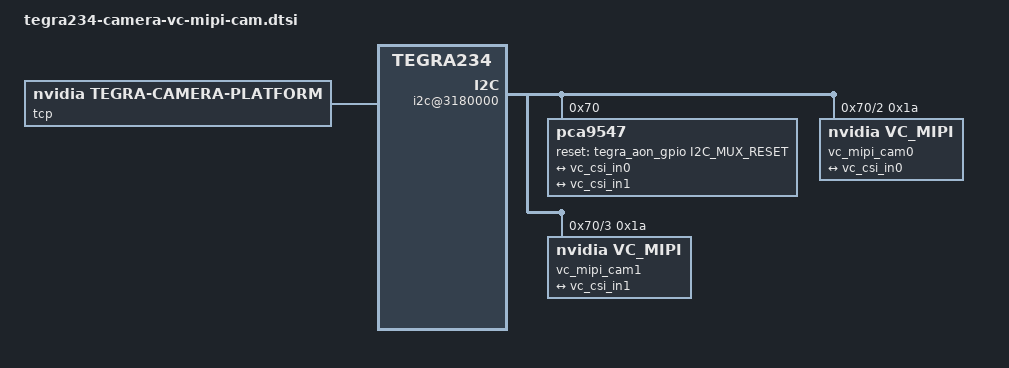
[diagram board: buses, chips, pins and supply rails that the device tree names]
/*
 * Copyright (c) 2024, Vision Components GmbH.  All rights reserved.
 *
 * This program is free software; you can redistribute it and/or modify
 * it under the terms of the GNU General Public License as published by
 * the Free Software Foundation; either version 2 of the License, or
 * (at your option) any later version.
 *
 * This program is distributed in the hope that it will be useful, but WITHOUT
 * ANY WARRANTY; without even the implied warranty of MERCHANTABILITY or
 * FITNESS FOR A PARTICULAR PURPOSE.  See the GNU General Public License for
 * more details.
 *
 * You should have received a copy of the GNU General Public License
 * along with this program.  If not, see <http://www.gnu.org/licenses/>.
 */

#include <dt-bindings/media/camera.h>
#include <dt-bindings/pinctrl/pinctrl-tegra.h>

//#define UNIT_1 // unit 1 has vesion 1 of the CapableRobots baseboard.
// This uses a different i2c mux chip.  We only have 1 of these boards.

#ifndef UNIT_1
#define I2C_MUX_CHIP "nxp,pca9547"
#else
// unit 1 uses a pca9548
#define I2C_MUX_CHIP "nxp,pca9548"
#endif

#define SB3D_VERSION "orin 1.0"

// ------------------------------------------------------------------------------------------------
//  Driver Configuration for NVIDIA Jetson Orin NX on Auvidea JNX42 LM Developer Kit
// ------------------------------------------------------------------------------------------------
#define VC_MIPI_CAM_0       1   // 1: Enabled, 0: Disabled  (serial_a => CSI Port 0 => VI Stream 0)
#define VC_MIPI_CAM_1       1   // 1: Enabled, 0: Disabled  (serial_c => CSI Port 2 => VI Stream 2)
// ------------------------------------------------------------------------------------------------
//  Supported number of lanes
// -----+------------------------------------------------------------------------------------------
//  1   | OV7251, IMX296, IMX297
//  2   | OV9281, IMX264, IMX265
//  2,4 | IMX178, IMX183, IMX226, IMX250, IMX252, IMX273, IMX290, IMX327, IMX335, IMX392, 
//      | IMX412, IMX415, IMX462, IMX565, IMX566, IMX567, IMX568
// -----+------------------------------------------------------------------------------------------
#define VC_MIPI_LANES       4   // 1, 2, 4 Lanes
// ------------------------------------------------------------------------------------------------
//  Embedded Metadata Height
// -----+------------------------------------------------------------------------------------------
//  0   | IMX178, IMX183, IMX226, IMX250, IMX252, IMX264, IMX265, IMX273, IMX392, OV7251, OV9281
//  1   | IMX290, IMX327, IMX335, IMX415, IMX462
//  2   | IMX296, IMX297, IMX412
//  4   | IMX565, IMX566, IMX567, IMX568
// -----+------------------------------------------------------------------------------------------
#define VC_MIPI_METADATA_H  "2" // "0", "1", "2", "4" Lines of meta data
// ------------------------------------------------------------------------------------------------
//   Sensor Manufacturer
// -----+------------------------------------------------------------------------------------------
//   1  | Sony Sensor (IMX)
//   2  | Omni Vision Sensor (OV)
// -----+------------------------------------------------------------------------------------------
#define VC_MIPI_MANUFACTURER 1
// ------------------------------------------------------------------------------------------------
//  GStreamer Support
// ------------------------------------------------------------------------------------------------
//  If you want to use GStreamer with nvarguscamerasrc you have to adjust this settings in the 
//  device tree below. The sections which have to be modified are marked by a comment. 
//  To find the correct parameter values please follow the instruction in the main README.md of 
//  this repository https://github.com/VC-MIPI-modules/vc_mipi_nvidia#gstreamer-support
// ------------------------------------------------------------------------------------------------


#if VC_MIPI_LANES == 1
    #define BUS_WIDTH 1
    #define NUM_LANES "1" 
    #define NUM_CSI_LANES 2
    #define PIX_CLK_HZ "150000000"
#endif
#if VC_MIPI_LANES == 2
    #define BUS_WIDTH 2
    #define NUM_LANES "2" 
    #define NUM_CSI_LANES 4
    #define PIX_CLK_HZ "300000000"
#endif
#if VC_MIPI_LANES == 4
    #define BUS_WIDTH 4
    #define NUM_LANES "4" 
    #define NUM_CSI_LANES 8
    #define PIX_CLK_HZ "600000000"
#endif

#if VC_MIPI_CAM_0 == 1 && VC_MIPI_CAM_1 == 1
    #define VC_MIPI_CAMERAS 2
#else
    #define VC_MIPI_CAMERAS 1
#endif

/ {
        sb3d_version = SB3D_VERSION;
        
        tegra-capture-vi  {
                num-channels = <VC_MIPI_CAMERAS>;
                ports {
                        #address-cells = <1>;
                        #size-cells = <0>;
#if VC_MIPI_CAM_0 == 1
                        vc_vi_port0: port@0 {
                                reg = <0>;
                                vc_vi_in0: endpoint {
                                        port-index = <0>;
                                        bus-width = <BUS_WIDTH>;
                                        remote-endpoint = <&vc_csi_out0>;
                                };
                        };
#endif
#if VC_MIPI_CAM_1 == 1
                        vc_vi_port1: port@1 {
                                reg = <1>;
                                vc_vi_in1: endpoint {
                                        port-index = <2>;
                                        bus-width = <BUS_WIDTH>;
                                        remote-endpoint = <&vc_csi_out1>;
                                };
                        };
#endif
                }; // ports
        };

        host1x@13e00000 {
                nvcsi@15a00000 {
                        num-channels = <VC_MIPI_CAMERAS>;
                        #address-cells = <1>;
                        #size-cells = <0>;
#if VC_MIPI_CAM_0 == 1
                        vc_csi_chan0: channel@0 {
                                reg = <0>;
                                ports {
                                        #address-cells = <1>;
                                        #size-cells = <0>;
                                                vc_csi_chan0_port0: port@0 {
                                                reg = <0>;
                                                vc_csi_in0: endpoint@0 {
                                                        port-index = <0>;
                                                        bus-width = <BUS_WIDTH>;
                                                        remote-endpoint = <&vc_mipi_out0>;
                                                };
                                        };
                                        vc_csi_chan0_port1: port@1 {
                                                reg = <1>;
                                                vc_csi_out0: endpoint@1 {
                                                        remote-endpoint = <&vc_vi_in0>;
                                                };
                                        };
                                };
                        };
#endif

#if VC_MIPI_CAM_1 == 1
                        vc_csi_chan1: channel@1 {
                                reg = <1>;
                                ports {
                                        #address-cells = <1>;
                                        #size-cells = <0>;
                                        vc_csi_chan1_port0: port@0 {
                                                reg = <0>;
                                                vc_csi_in1: endpoint@2 {
                                                        port-index = <2>;
                                                        bus-width = <BUS_WIDTH>;
                                                        remote-endpoint = <&vc_mipi_out1>;
                                                };
                                        };
                                        vc_csi_chan1_port1: port@1 {
                                                reg = <1>;
                                                vc_csi_out1: endpoint@3 {
                                                        remote-endpoint = <&vc_vi_in1>;
                                                };
                                        };
                                };
                        };
#endif
                };
        };




i2c@3180000 {
         pca9547@70 {
#if VC_MIPI_CAM_0 == 1
                        i2c@2 {
                                vc_mipi_cam0: vc_mipi@1a {
                                        reg                     = <0x1a>;
                                        compatible              = "nvidia,vc_mipi";
                                        devnode                 = "video0";
                                        use_sensor_mode_id      = "false";
                                        sensor_model            = "vc_mipi";

                                        num_lanes               = NUM_LANES;
                                        trigger_mode            = "0";
                                        io_mode                 = "0";

                                        // ----------------------------------------------------
                                        // If you want to use GStreamer with nvarguscamerasrc
                                        // you have to adjust this settings
                                        physical_w              = "4.000";
                                        physical_h              = "3.000";
                                        // ----------------------------------------------------

                                        // This node is needed by the Tegra framework.
                                        // You don't have to change any settings if just want 
                                        // to use the V4L API.
                                        mode0 {
                                                num_lanes                = NUM_LANES;
                                                tegra_sinterface         = "serial_a";
                                                embedded_metadata_height = VC_MIPI_METADATA_H;
                                                readout_orientation      = "0";
                                                lane_polarity            = "6";

                                                // ----------------------------------------------------
                                                // If you want to use GStreamer with nvarguscamerasrc
                                                // you have to adjust this settings. 
                                                active_l                 = "0";
                                                active_t                 = "0";
                                                active_w                 = "0";
                                                active_h                 = "0";
                                                mode_type                = "bayer";
                                                pixel_phase              = "rggb";
                                                csi_pixel_bit_depth      = "10";

                                                min_gain_val             = "0";         // mdB
                                                max_gain_val             = "48000";     // mdB
                                                step_gain_val            = "100";       // mdB
                                                default_gain             = "0";         // mdB

                                                min_exp_time             = "1";         // us
                                                max_exp_time             = "1000000";   // us
                                                step_exp_time            = "1";         // us
                                                default_exp_time         = "10000";     // us

                                                // For applications like argus_camera, there should 
                                                // be a minimal frame rate greater than zero!
                                                min_framerate            = "100";       // mHz
                                                max_framerate            = "60000";     // mHz
                                                step_framerate           = "100";       // mHz
                                                default_framerate        = "60000";     // mHz
                                                // ----------------------------------------------------

                                                gain_factor              = "1000";
                                                exposure_factor          = "1000000";
                                                framerate_factor         = "1000";
                                                inherent_gain            = "1";
                                                min_hdr_ratio            = "1";
                                                max_hdr_ratio            = "1";

                                                line_length              = "0";
                                                phy_mode                 = "DPHY";
                                                discontinuous_clk        = "no";
                                                mclk_khz                 = "24000";
                                                pix_clk_hz               = PIX_CLK_HZ;
                                                mclk_multiplier          = "0.0";       // deprecated
                                                cil_settletime           = "0";
                                                dpcm_enable              = "false";
                                        };

                                        ports {
                                                #address-cells = <1>;
                                                #size-cells = <0>;
                                                port@0 {
                                                        reg = <0>;
                                                        vc_mipi_out0: endpoint {
                                                                port-index = <0>;
                                                                bus-width = <BUS_WIDTH>;
                                                                remote-endpoint = <&vc_csi_in0>;
                                                        };
                                                };
                                        };
                                };
                        };
        #endif // VC_MIPI_CAM_0

        #if VC_MIPI_CAM_1 == 1
                        i2c@3 {
                                vc_mipi_cam1: vc_mipi@1a {
                                        reg                     = <0x1a>;
                                        compatible              = "nvidia,vc_mipi";
                                        devnode                 = "video1";
                                        use_sensor_mode_id      = "false";
                                        sensor_model            = "vc_mipi";

                                        num_lanes               = NUM_LANES;
                                        trigger_mode            = "0";
                                        io_mode                 = "0";

                                        // ----------------------------------------------------
                                        // If you want to use GStreamer with nvarguscamerasrc
                                        // you have to adjust this settings
                                        physical_w              = "0.000";
                                        physical_h              = "0.000";
                                        // ----------------------------------------------------

                                        // This node is needed by the Tegra framework.
                                        // You don't have to change any settings if just want 
                                        // to use the V4L API.
                                        mode0 {
                                                num_lanes                = NUM_LANES;
                                                tegra_sinterface         = "serial_c";
                                                embedded_metadata_height = VC_MIPI_METADATA_H;
                                                readout_orientation      = "0";
                                                lane_polarity            = "0";

                                                // ----------------------------------------------------
                                                // If you want to use GStreamer with nvarguscamerasrc
                                                // you have to adjust this settings. 
                                                active_l                 = "0";
                                                active_t                 = "0";
                                                active_w                 = "0";
                                                active_h                 = "0";
                                                mode_type                = "bayer";
                                                pixel_phase              = "rggb";
                                                csi_pixel_bit_depth      = "10";

                                                min_gain_val             = "0";         // mdB
                                                max_gain_val             = "48000";     // mdB
                                                step_gain_val            = "100";       // mdB
                                                default_gain             = "0";         // mdB

                                                min_exp_time             = "1";         // us
                                                max_exp_time             = "1000000";   // us
                                                step_exp_time            = "1";         // us
                                                default_exp_time         = "10000";     // us

                                                // For applications like argus_camera, there should 
                                                // be a minimal frame rate greater than zero!
                                                min_framerate            = "100";       // mHz
                                                max_framerate            = "60000";     // mHz
                                                step_framerate           = "100";       // mHz
                                                default_framerate        = "60000";     // mHz
                                                // ----------------------------------------------------

                                                gain_factor              = "1000";
                                                exposure_factor          = "1000000";
                                                framerate_factor         = "1000";
                                                inherent_gain            = "1";
                                                min_hdr_ratio            = "1";
                                                max_hdr_ratio            = "1";

                                                line_length              = "0";
                                                phy_mode                 = "DPHY";
                                                discontinuous_clk        = "no";
                                                mclk_khz                 = "24000";

                                                pix_clk_hz               = PIX_CLK_HZ;
                                                mclk_multiplier          = "0.0";       // deprecated
                                                cil_settletime           = "0";
                                                dpcm_enable              = "false";
                                        };

                                        ports {
                                                #address-cells = <1>;
                                                #size-cells = <0>;
                                                port@0 {
                                                        reg = <0>;
                                                        vc_mipi_out1: endpoint {
                                                                port-index = <2>;
                                                                bus-width = <BUS_WIDTH>;
                                                                remote-endpoint = <&vc_csi_in1>;
                                                        };
                                                };
                                        };
                                };
                        };
        #endif // VC_MIPI_CAM_1
                };
        };
#if 0
        lens@vc_mipi {
                min_focus_distance  = "0.0";
                hyper_focal         = "0.0";
                focal_length        = "6.0";
                f_number            = "2.0";
                aperture            = "0.0";
        };
#endif
};

/ {
        tcp: tegra-camera-platform {
                compatible = "nvidia, tegra-camera-platform";

                num_csi_lanes = <NUM_CSI_LANES>;
                max_lane_speed = <1500000>;
                min_bits_per_pixel = <10>;
                vi_peak_byte_per_pixel = <2>;
                vi_bw_margin_pct = <25>;
                max_pixel_rate = <240000>;
                isp_peak_byte_per_pixel = <5>;
                isp_bw_margin_pct = <25>;

                modules {
#if VC_MIPI_CAM_0 == 1
                        cam_module0: module0 {
                                badge = "jakku_front_vc_mipi";
                                position = "front";
                                orientation = "1";
                                cam_module0_drivernode0: drivernode0 {
                                        pcl_id = "v4l2_sensor";
                                        devname = "vc_mipi 32-001a";
                                        proc-device-tree = "/proc/device-tree/i2c@3180000/pca9547@70/i2c@2/vc_mipi@1a";
                                };
                                #if 0
                                cam_module0_drivernode1: drivernode1 {
                                        pcl_id = "v4l2_lens";
                                        proc-device-tree = "/proc/device-tree/lens@vc_mipi/";
                                };
                                #endif
                        };
#endif // VC_MIPI_CAM_0

#if VC_MIPI_CAM_1 == 1
                        cam_module1: module1 {
                                badge = "jakku_rear_vc_mipi";
                                position = "rear";
                                orientation = "1";
                                cam_module1_drivernode0: drivernode0 {
                                        pcl_id = "v4l2_sensor";
                                        devname = "vc_mipi 33-001a";
                                        proc-device-tree = "/proc/device-tree/i2c@3180000/pca9547@70/i2c@3/vc_mipi@1a";
                                };
                                #if 0
                                cam_module1_drivernode1: drivernode1 {
                                        pcl_id = "v4l2_lens";
                                        proc-device-tree = "/proc/device-tree/lens@vc_mipi/";
                                };
                                #endif
                        };
#endif // VC_MIPI_CAM_1
                };
        };
};

#define I2C_MUX_RESET	TEGRA234_AON_GPIO(CC, 1)
#define CAMERA_I2C_MUX_BUS(x) (0x1E + x)


/ {
        i2c@3180000 {
                pca9547@70 {
                        reset-gpios = <&tegra_aon_gpio I2C_MUX_RESET GPIO_ACTIVE_HIGH>;
                        compatible = I2C_MUX_CHIP; // unit 1 uses pca9548 all others use pca9587
                        status = "okay";
                        reg = <0x70>;
                        #address-cells = <1>;
                        #size-cells = <0>;
                        //vcc-supply = <&battery_reg>;
                        force_bus_start = <CAMERA_I2C_MUX_BUS(0)>;

#if VC_MIPI_CAM_0 == 1
                                i2c@2 {
                                        status = "okay";
                                        reg = <2>;
                                        i2c-mux,deselect-on-exit;
                                        #address-cells = <1>;
                                        #size-cells = <0>;
                                        vc_mipi@1a {
 //                                               reset-gpios = <&tegra_main_gpio CAM0_PWDN GPIO_ACTIVE_HIGH>;
                                        };
                                };
#endif
#if VC_MIPI_CAM_1 == 1
                                i2c@3 {
                                        status = "okay";
                                        reg = <3>;
                                        i2c-mux,deselect-on-exit;
                                        #address-cells = <1>;
                                        #size-cells = <0>;
                                        vc_mipi@1a {
 //                                               reset-gpios = <&tegra_main_gpio CAM1_PWDN GPIO_ACTIVE_HIGH>;
                                        };
                                };
#endif
                };
        };
};

